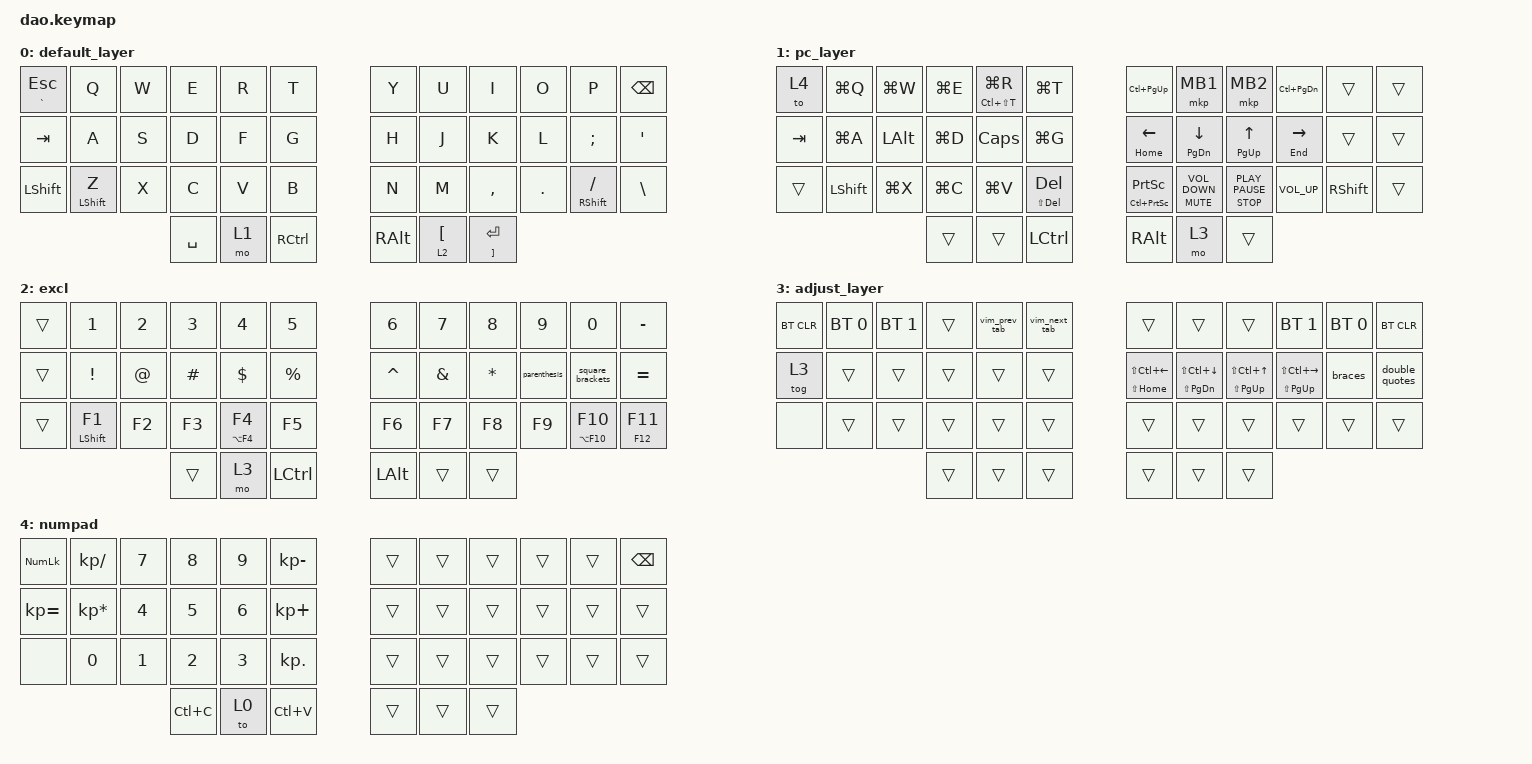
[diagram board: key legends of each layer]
/*
 * Copyright (c) 2021 Rafael Yumagulov
 *
 * SPDX-License-Identifier: MIT
 */

#include <dt-bindings/zmk/mouse.h>
#include <behaviors.dtsi>
#include <dt-bindings/zmk/bt.h>
#include <dt-bindings/zmk/keys.h>
#include <dt-bindings/zmk/pointing.h>

#define DEF 0
#define LWR 1
#define RSE 2
#define ADJ 3

&lt { quick_tap_ms = <200>; };

&mt { quick_tap_ms = <200>; };

/ {
    chosen {
        zmk,matrix_transform = &default_transform;

        // zmk,matrix_transform = &extra_keys_transform;
    };
};

/ {
    combos {
        compatible = "zmk,combos";

        as_ESC {
            bindings = <&kp ESCAPE>;
            key-positions = <13 14>;
        };

        bootLeft {
            bindings = <&bootloader>;
            key-positions = <38 37 36>;
        };

        bootRight {
            bindings = <&bootloader>;
            key-positions = <39 40 41>;
        };

        sys_reset_left {
            bindings = <&sys_reset>;
            key-positions = <5 4 3>;
        };

        sys_reset_right {
            bindings = <&sys_reset>;
            key-positions = <6 7 8>;
        };

        gui {
            bindings = <&kp LEFT_GUI>;
            key-positions = <25 26>;
        };
    };

    macros {
        parenthesis: parenthesis {
            compatible = "zmk,behavior-macro";
            #binding-cells = <0>;
            bindings = <&kp LEFT_PARENTHESIS &kp RIGHT_PARENTHESIS &kp LEFT_ARROW>;
            label = "PARENTHESIS";
        };

        double_quotes: double_quotes {
            compatible = "zmk,behavior-macro";
            #binding-cells = <0>;
            bindings = <&kp DOUBLE_QUOTES &kp DOUBLE_QUOTES &kp LEFT_ARROW>;
            label = "DOUBLE_QUOTES";
        };

        braces: braces {
            compatible = "zmk,behavior-macro";
            #binding-cells = <0>;
            bindings = <&kp LEFT_BRACE &kp RIGHT_BRACE &kp LEFT_ARROW>;
            label = "BRACES";
        };

        vim_next_tab: vim_next_tab {
            compatible = "zmk,behavior-macro";
            #binding-cells = <0>;
            bindings = <&kp T &kp T>;
            label = "VIM_NEXT_TAB";
        };

        vim_prev_tab: vim_prev_tab {
            compatible = "zmk,behavior-macro";
            #binding-cells = <0>;
            bindings = <&kp LS(T) &kp LS(T)>;
            label = "VIM_PREV_TAB";
        };

        square_brackets: square_brackets {
            compatible = "zmk,behavior-macro";
            #binding-cells = <0>;
            bindings = <&kp LBKT &kp RIGHT_BRACKET &kp LEFT_ARROW>;
            label = "SQUARE_BRACKETS";
        };
    };

    keymap {
        compatible = "zmk,keymap";

        default_layer {
            bindings = <
&mt GRAVE ESCAPE  &kp Q             &kp W  &kp E      &kp R  &kp T      &kp Y          &kp U               &kp I                    &kp O    &kp P                  &kp BACKSPACE
&kp TAB           &kp A             &kp S  &kp D      &kp F  &kp G      &kp H          &kp J               &kp K                    &kp L    &kp SEMI               &kp SINGLE_QUOTE
&kp LEFT_SHIFT    &mt LEFT_SHIFT Z  &kp X  &kp C      &kp V  &kp B      &kp N          &kp M               &kp COMMA                &kp DOT  &mt RIGHT_SHIFT SLASH  &kp BACKSLASH
                                           &kp SPACE  &mo 1  &kp RCTRL  &kp RIGHT_ALT  &lt 2 LEFT_BRACKET  &mt RIGHT_BRACKET ENTER
            >;
        };

        pc_layer {
            bindings = <
&to 4    &kp LG(Q)       &kp LG(W)     &kp LG(E)  &mt LC(LS(T)) LG(R)  &kp LG(T)        &kp LC(PG_UP)                    &mkp MB1                  &mkp MB2                 &kp LC(PAGE_DOWN)  &trans           &trans
&kp TAB  &kp LG(A)       &kp LEFT_ALT  &kp LG(D)  &kp CAPS             &kp LG(G)        &mt HOME LEFT                    &mt PAGE_DOWN DOWN        &mt PG_UP UP_ARROW       &mt END RIGHT      &trans           &trans
&trans   &kp LEFT_SHIFT  &kp LG(X)     &kp LG(C)  &kp LG(V)            &mt LS(DEL) DEL  &mt LC(PRINTSCREEN) PRINTSCREEN  &mt K_MUTE C_VOLUME_DOWN  &mt K_STOP K_PLAY_PAUSE  &kp C_VOLUME_UP    &kp RIGHT_SHIFT  &trans
                                       &trans     &trans               &kp LCTRL        &kp RIGHT_ALT                    &mo 3                     &trans
            >;
        };

        excl {
            bindings = <
&trans  &kp NUMBER_1       &kp NUMBER_2  &kp NUMBER_3  &kp NUMBER_4   &kp N5     &kp NUMBER_6  &kp N7    &kp N8    &kp NUMBER_9  &kp NUMBER_0      &kp MINUS
&trans  &kp EXCL           &kp AT        &kp HASH      &kp DLLR       &kp PRCNT  &kp CARET     &kp AMPS  &kp STAR  &parenthesis  &square_brackets  &kp EQUAL
&trans  &mt LEFT_SHIFT F1  &kp F2        &kp F3        &mt LA(F4) F4  &kp F5     &kp F6        &kp F7    &kp F8    &kp F9        &mt LA(F10) F10   &mt F12 F11
                                         &trans        &mo 3          &kp LCTRL  &kp LEFT_ALT  &trans    &trans
            >;
        };

        adjust_layer {
            bindings = <
&bt BT_CLR  &bt BT_SEL 0  &bt BT_SEL 1  &trans  &vim_prev_tab  &vim_next_tab  &trans                     &trans                                &trans                          &bt BT_SEL 1                 &bt BT_SEL 0  &bt BT_CLR
&tog 3      &trans        &trans        &trans  &trans         &trans         &mt LS(HOME) LS(LC(LEFT))  &mt LS(PAGE_DOWN) LS(LC(DOWN_ARROW))  &mt LS(PG_UP) LS(LC(UP_ARROW))  &mt LS(PG_UP) LS(LC(RIGHT))  &braces       &double_quotes
&none       &trans        &trans        &trans  &trans         &trans         &trans                     &trans                                &trans                          &trans                       &trans        &trans
                                        &trans  &trans         &trans         &trans                     &trans                                &trans
            >;
        };

        numpad {
            bindings = <
&kp KP_NUM    &kp KP_SLASH     &kp N7        &kp N8        &kp N9        &kp KP_MINUS  &trans  &trans  &trans  &trans  &trans  &kp BACKSPACE
&kp KP_EQUAL  &kp KP_MULTIPLY  &kp NUMBER_4  &kp N5        &kp NUMBER_6  &kp KP_PLUS   &trans  &trans  &trans  &trans  &trans  &trans
&none         &kp N0           &kp NUMBER_1  &kp NUMBER_2  &kp NUMBER_3  &kp KP_DOT    &trans  &trans  &trans  &trans  &trans  &trans
                                             &kp LC(C)     &to 0         &kp LC(V)     &trans  &trans  &trans
            >;
        };
    };
};
